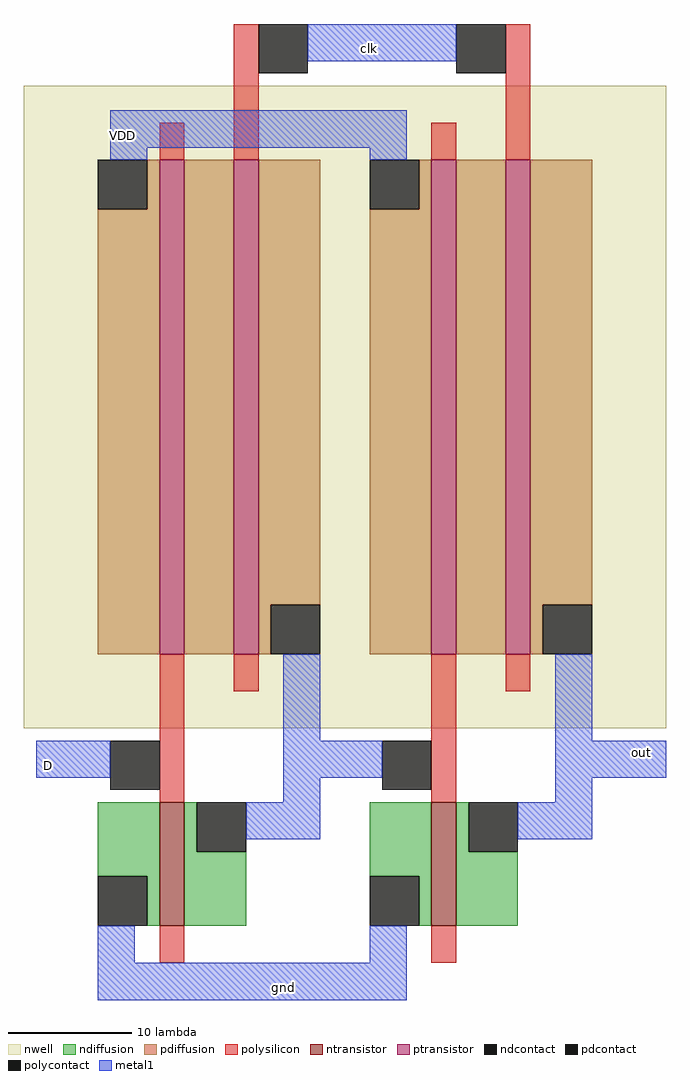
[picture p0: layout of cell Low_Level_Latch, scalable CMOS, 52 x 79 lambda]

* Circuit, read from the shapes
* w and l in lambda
.subckt Low_Level_Latch D VDD clk gnd out
M1 n1 D gnd VSUBS nfet w=10 l=2
M2 out n1 gnd VSUBS nfet w=10 l=2
M3 n2 D VDD n3 pfet w=40 l=2
M4 n1 clk n2 n3 pfet w=40 l=2
M5 n4 n1 VDD n3 pfet w=40 l=2
M6 out clk n4 n3 pfet w=40 l=2
.ends

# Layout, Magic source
magic
tech scmos
<< nwell >>
rect -21 8 31 60
<< ntransistor >>
rect -10 -8 -8 2
rect 12 -8 14 2
<< ptransistor >>
rect -10 14 -8 54
rect -4 14 -2 54
rect 12 14 14 54
rect 18 14 20 54
<< ndiffusion >>
rect -15 -4 -10 2
rect -11 -8 -10 -4
rect -8 -2 -7 2
rect -8 -8 -3 -2
rect 7 -4 12 2
rect 11 -8 12 -4
rect 14 -2 15 2
rect 14 -8 19 -2
<< pdiffusion >>
rect -11 50 -10 54
rect -15 14 -10 50
rect -8 14 -4 54
rect -2 18 3 54
rect -2 14 -1 18
rect 11 50 12 54
rect 7 14 12 50
rect 14 14 18 54
rect 20 18 25 54
rect 20 14 21 18
<< ndcontact >>
rect -15 -8 -11 -4
rect -7 -2 -3 2
rect 7 -8 11 -4
rect 15 -2 19 2
<< pdcontact >>
rect -15 50 -11 54
rect -1 14 3 18
rect 7 50 11 54
rect 21 14 25 18
<< polysilicon >>
rect -10 54 -8 57
rect -4 54 -2 65
rect 12 54 14 57
rect 18 54 20 65
rect -10 2 -8 14
rect -4 11 -2 14
rect 12 2 14 14
rect 18 11 20 14
rect -10 -11 -8 -8
rect 12 -11 14 -8
<< polycontact >>
rect -2 61 2 65
rect 14 61 18 65
rect -14 3 -10 7
rect 8 3 12 7
<< metal1 >>
rect 2 62 14 65
rect -14 55 10 58
rect -14 54 -11 55
rect 7 54 10 55
rect 0 7 3 14
rect 22 7 25 14
rect -20 4 -14 7
rect 0 4 8 7
rect 0 2 3 4
rect 22 4 31 7
rect 22 2 25 4
rect -3 -1 3 2
rect 19 -1 25 2
rect -15 -11 -12 -8
rect 7 -11 10 -8
rect -15 -14 10 -11
<< labels >>
rlabel metal1 -19 5 -19 5 3 D
rlabel metal1 -13 56 -13 56 1 VDD
rlabel metal1 7 63 7 63 5 clk
rlabel metal1 29 6 29 6 7 out
rlabel metal1 0 -13 0 -13 1 gnd
<< end >>
